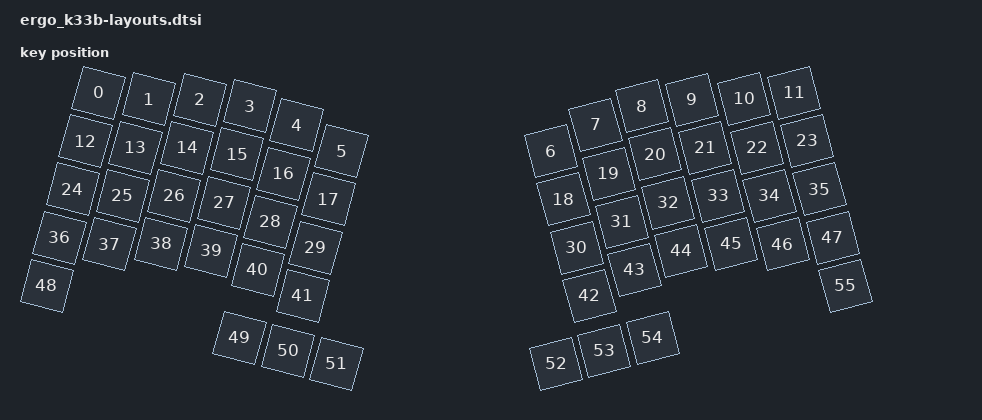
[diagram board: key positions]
#include <physical_layouts.dtsi>

/ {
    physical_layout_ergo_k33b: physical_layout_ergo_k33b {
        compatible = "zmk,physical-layout";
        display-name = "ergo-k33b";
        keys  //                     w   h    x    y     rot    rx    ry
            = <&key_physical_attrs  95  95  104    0    1500   151    47>
            , <&key_physical_attrs  95  95  204   13    1500   251    61>
            , <&key_physical_attrs  95  95  307   14    1500   354    61>
            , <&key_physical_attrs  95  95  407   27    1500   454    74>
            , <&key_physical_attrs  95  95  500   65    1500   547   113>
            , <&key_physical_attrs  95  95  590  117    1500   637   164>
            , <&key_physical_attrs  95  95 1008  117 (-1500)  1056   164>
            , <&key_physical_attrs  95  95 1098   65 (-1500)  1145   113>
            , <&key_physical_attrs  95  95 1191   27 (-1500)  1239    74>
            , <&key_physical_attrs  95  95 1291   14 (-1500)  1339    61>
            , <&key_physical_attrs  95  95 1395   13 (-1500)  1442    61>
            , <&key_physical_attrs  95  95 1495    0 (-1500)  1542    47>
            , <&key_physical_attrs  95  95   78   97    1500   125   144>
            , <&key_physical_attrs  95  95  178  110    1500   225   157>
            , <&key_physical_attrs  95  95  281  110    1500   328   158>
            , <&key_physical_attrs  95  95  381  123    1500   428   171>
            , <&key_physical_attrs  95  95  474  162    1500   522   209>
            , <&key_physical_attrs  95  95  564  213    1500   611   261>
            , <&key_physical_attrs  95  95 1034  213 (-1500)  1082   261>
            , <&key_physical_attrs  95  95 1124  162 (-1500)  1171   209>
            , <&key_physical_attrs  95  95 1217  123 (-1500)  1265   171>
            , <&key_physical_attrs  95  95 1317  110 (-1500)  1365   158>
            , <&key_physical_attrs  95  95 1421  110 (-1500)  1468   157>
            , <&key_physical_attrs  95  95 1521   97 (-1500)  1568   144>
            , <&key_physical_attrs  95  95   52  193    1500    99   241>
            , <&key_physical_attrs  95  95  152  206    1500   199   254>
            , <&key_physical_attrs  95  95  255  207    1500   303   254>
            , <&key_physical_attrs  95  95  355  220    1500   403   267>
            , <&key_physical_attrs  95  95  448  259    1500   496   306>
            , <&key_physical_attrs  95  95  538  310    1500   586   357>
            , <&key_physical_attrs  95  95 1060  310 (-1500)  1107   357>
            , <&key_physical_attrs  95  95 1150  259 (-1500)  1197   306>
            , <&key_physical_attrs  95  95 1243  220 (-1500)  1290   267>
            , <&key_physical_attrs  95  95 1343  207 (-1500)  1390   254>
            , <&key_physical_attrs  95  95 1446  206 (-1500)  1494   254>
            , <&key_physical_attrs  95  95 1546  193 (-1500)  1594   241>
            , <&key_physical_attrs  95  95   26  290    1500    73   337>
            , <&key_physical_attrs  95  95  126  303    1500   173   350>
            , <&key_physical_attrs  95  95  229  303    1500   277   351>
            , <&key_physical_attrs  95  95  329  317    1500   377   364>
            , <&key_physical_attrs  95  95  422  355    1500   470   403>
            , <&key_physical_attrs  95  95  512  406    1500   560   454>
            , <&key_physical_attrs  95  95 1086  406 (-1500)  1133   454>
            , <&key_physical_attrs  95  95 1176  355 (-1500)  1223   403>
            , <&key_physical_attrs  95  95 1269  317 (-1500)  1316   364>
            , <&key_physical_attrs  95  95 1369  303 (-1500)  1416   351>
            , <&key_physical_attrs  95  95 1472  303 (-1500)  1520   350>
            , <&key_physical_attrs  95  95 1572  290 (-1500)  1620   337>
            , <&key_physical_attrs  95  95    0  386    1500    47   434>
            , <&key_physical_attrs  95  95  386  490    1500   434   537>
            , <&key_physical_attrs  95  95  483  516    1500   530   563>
            , <&key_physical_attrs  95  95  580  542    1500   627   589>
            , <&key_physical_attrs  95  95 1019  542 (-1500)  1066   589>
            , <&key_physical_attrs  95  95 1115  516 (-1500)  1163   563>
            , <&key_physical_attrs  95  95 1212  490 (-1500)  1259   537>
            , <&key_physical_attrs  95  95 1598  386 (-1500)  1646   434>
            ;
    };
};
